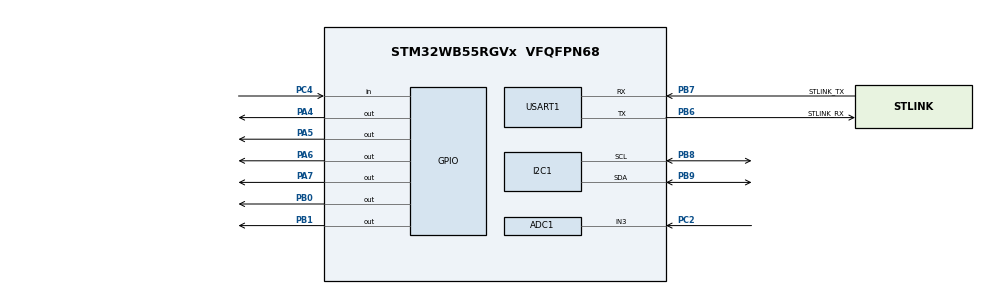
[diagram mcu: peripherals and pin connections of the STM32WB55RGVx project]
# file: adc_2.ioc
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ADC1.Channel-0\#ChannelRegularConversion=ADC_CHANNEL_3
ADC1.ClockPrescaler=ADC_CLOCK_ASYNC_DIV32
ADC1.ContinuousConvMode=ENABLE
ADC1.DMAContinuousRequests=ENABLE
ADC1.NbrOfConversionFlag=1
ADC1.OffsetNumber-0\#ChannelRegularConversion=ADC_OFFSET_NONE
ADC1.Overrun=ADC_OVR_DATA_PRESERVED
ADC1.Rank-0\#ChannelRegularConversion=1
ADC1.SamplingTime-0\#ChannelRegularConversion=ADC_SAMPLETIME_47CYCLES_5
ADC1.master=1
Dma.ADC1.0.Direction=DMA_PERIPH_TO_MEMORY
Dma.ADC1.0.EventEnable=DISABLE
Dma.ADC1.0.Instance=DMA1_Channel1
Dma.ADC1.0.MemDataAlignment=DMA_MDATAALIGN_HALFWORD
Dma.ADC1.0.MemInc=DMA_MINC_ENABLE
Dma.ADC1.0.Mode=DMA_CIRCULAR
Dma.ADC1.0.PeriphDataAlignment=DMA_PDATAALIGN_HALFWORD
Dma.ADC1.0.PeriphInc=DMA_PINC_DISABLE
Dma.ADC1.0.Polarity=HAL_DMAMUX_REQ_GEN_RISING
Dma.ADC1.0.Priority=DMA_PRIORITY_LOW
Dma.ADC1.0.RequestNumber=1
Dma.ADC1.0.SignalID=NONE
Dma.ADC1.0.SyncEnable=DISABLE
Dma.ADC1.0.SyncPolarity=HAL_DMAMUX_SYNC_NO_EVENT
Dma.ADC1.0.SyncRequestNumber=1
Dma.ADC1.0.SyncSignalID=NONE
Dma.Request0=ADC1
I2C1.Timing=0x00100D14
Mcu.Family=STM32WB
Mcu.Name=STM32WB55RGVx
Mcu.Package=VFQFPN68
NVIC.ADC1_IRQn=true\:0\:0\:false\:false\:true\:true\:true\:true
NVIC.DMA1_Channel1_IRQn=true\:0\:0\:false\:false\:true\:false\:true\:true
NVIC.PriorityGroup=NVIC_PRIORITYGROUP_4
OSC_IN.GPIO_Label=RCC_OSC_IN
OSC_IN.Signal=RCC_OSC_IN
OSC_OUT.GPIO_Label=RCC_OSC_OUT
OSC_OUT.Signal=RCC_OSC_OUT
PA11.GPIO_Label=USB_DM
PA11.Signal=USB_DM
PA12.GPIO_Label=USB_DP
PA12.Signal=USB_DP
PA13.GPIO_Label=JTMS
PA13.Signal=SYS_JTMS-SWDIO
PA14.GPIO_Label=JTCK
PA14.Signal=SYS_JTCK-SWCLK
PA4.PinState=GPIO_PIN_SET
PA4.Signal=GPIO_Output
PA5.Signal=GPIO_Output
PA6.Signal=GPIO_Output
PA7.Signal=GPIO_Output
PB0.PinState=GPIO_PIN_SET
PB0.Signal=GPIO_Output
PB1.PinState=GPIO_PIN_SET
PB1.Signal=GPIO_Output
PB3.GPIO_Label=JTDO
PB3.Signal=SYS_JTDO-SWO
PB6.GPIO_Label=STLINK_RX
PB6.Mode=Asynchronous
PB6.Signal=USART1_TX
PB7.GPIO_Label=STLINK_TX
PB7.Mode=Asynchronous
PB7.Signal=USART1_RX
PB8.Mode=I2C
PB8.Signal=I2C1_SCL
PB9.Mode=I2C
PB9.Signal=I2C1_SDA
PC13.GPIO_Label=SYS_WKUP2
PC13.Signal=SYS_WKUP2
PC14-OSC32_IN.GPIO_Label=RCC_OSC32_IN
PC14-OSC32_IN.Signal=RCC_OSC32_IN
PC15-OSC32_OUT.GPIO_Label=RCC_OSC32_OUT
PC15-OSC32_OUT.Signal=RCC_OSC32_OUT
PC2.Signal=ADCx_IN3
PC4.GPIO_PuPd=GPIO_PULLUP
PC4.Signal=GPIO_Input
ProjectManager.HeapSize=0x200
ProjectManager.StackSize=0x400
ProjectManager.TargetToolchain=CMake
RCC.ADCFreq_Value=48000000
RCC.AHB2CLKDivider=RCC_SYSCLK_DIV2
RCC.AHBFreq_Value=4000000
RCC.APB1Freq_Value=4000000
RCC.APB1TimFreq_Value=4000000
RCC.APB2Freq_Value=4000000
RCC.APB2TimFreq_Value=4000000
RCC.APB3Freq_Value=16000000
RCC.Cortex2_Div=SYSTICK_CLKSOURCE_HCLK_DIV8
RCC.CortexFreq_Value=4000000
RCC.HCLKFreq_Value=4000000
RCC.HSE_VALUE=32000000
RCC.HSI48_VALUE=48000000
RCC.HSI_VALUE=16000000
RCC.LSE_VALUE=32768
RCC.PLLSAI1N=24
RCC.SMPSCLockSelection=RCC_SMPSCLKSOURCE_HSI
RCC.SMPSCLockSelectionVirtual=RCC_SMPSCLKSOURCE_HSI
RCC.SMPSCLockSelectionVirtualVirtual=RCC_SMPSCLKSOURCE_HSI
RCC.SMPSDivider=1
RCC.SYSCLKFreq_VALUE=4000000
RCC.USBFreq_Value=48000000
RCC.VCOOutputFreq_Value=32000000
SH.ADCx_IN3.0=ADC1_IN3,IN3-Single-Ended
USART1.VirtualMode-Asynchronous=VM_ASYNC
VP_MEMORYMAP_VS_MEMORYMAP.Mode=CurAppReg
board=NUCLEO-WB55RG

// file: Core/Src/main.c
/* USER CODE BEGIN Header */
/**
  ******************************************************************************
  * @file           : main.c
  * @brief          : Main program body
  ******************************************************************************
  * @attention
  *
  * Copyright (c) 2026 STMicroelectronics.
  * All rights reserved.
  *
  * This software is licensed under terms that can be found in the LICENSE file
  * in the root directory of this software component.
  * If no LICENSE file comes with this software, it is provided AS-IS.
  *
  ******************************************************************************
  */
/* USER CODE END Header */
#include "main.h"
#include "adc.h"
#include "dma.h"
#include "i2c.h"
#include "usart.h"
#include "gpio.h"

/* USER CODE BEGIN Includes */
#include <stdio.h>
#include <string.h>
#include <stdlib.h>
/* USER CODE END Includes */

/* USER CODE BEGIN PTD */

typedef enum
{
    MODE_ECONOMICO = 0,
    MODE_NORMAL,
    MODE_RACE,
    MODE_COUNT
} AppMode_t;

/* USER CODE END PTD */

/* USER CODE BEGIN PD */
#define ADXL345_ADDR        (0x53 << 1)
#define ADXL_REG_DATA_FMT   0x31
#define ADXL_REG_POWER_CTL  0x2D
#define ADXL_REG_DATAX0     0x32
#define ADXL_REG_DEVID      0x00

#define ADC_MAX   4095u
#define VREF_MV   3300u

/* Botão */
#define BTN_PORT            GPIOC
#define BTN_PIN             GPIO_PIN_4
#define BTN_DEBOUNCE_MS     50u     /* tempo mínimo entre leituras válidas  */

/* LEDs */
#define LED1_PORT   GPIOA
#define LED1_PIN    GPIO_PIN_5   /* Acende > 1V */

#define LED2_PORT   GPIOA
#define LED2_PIN    GPIO_PIN_6   /* Acende > 2V */

#define LED3_PORT   GPIOA
#define LED3_PIN    GPIO_PIN_7   /* Acende > 3V */

#define LED1_THRESHOLD_MV   1000u
#define LED2_THRESHOLD_MV   2000u
#define LED3_THRESHOLD_MV   3000u

/* USER CODE END PD */

/* USER CODE BEGIN PV */
uint32_t adc_value = 0;
char msg[64];
char buffer[32];

/* Máquina de estados do modo */
static AppMode_t s_mode           = MODE_NORMAL;
static uint32_t  s_btn_last_tick  = 0;
static uint8_t   s_btn_last_state = GPIO_PIN_SET;   /* pull-up > repouso = 1 */

/* Nomes dos modos*/
static const char * const MODE_NAMES[MODE_COUNT] = {
    "ECONOMICO",
    "NORMAL",
    "RACE"
};
/* USER CODE END PV */

void SystemClock_Config(void);
void PeriphCommonClock_Config(void);
/* USER CODE BEGIN PFP */
static HAL_StatusTypeDef ADXL345_Init(void);
static HAL_StatusTypeDef ADXL345_Read(int16_t *ax, int16_t *ay, int16_t *az);
static void              Button_Update(void);

static void LED_Update(uint32_t mv);
/* USER CODE END PFP */

/* USER CODE BEGIN 0 */
static void LED_Update(uint32_t mv)
{
    HAL_GPIO_WritePin(LED1_PORT, LED1_PIN,
        (mv > LED1_THRESHOLD_MV) ? GPIO_PIN_SET : GPIO_PIN_RESET);

    HAL_GPIO_WritePin(LED2_PORT, LED2_PIN,
        (mv > LED2_THRESHOLD_MV) ? GPIO_PIN_SET : GPIO_PIN_RESET);

    HAL_GPIO_WritePin(LED3_PORT, LED3_PIN,
        (mv > LED3_THRESHOLD_MV) ? GPIO_PIN_SET : GPIO_PIN_RESET);
}

/* ADXL345 */

static HAL_StatusTypeDef ADXL345_Init(void)
{
    uint8_t val;
    HAL_StatusTypeDef ret;

    ret = HAL_I2C_Mem_Read(&hi2c1, ADXL345_ADDR, ADXL_REG_DEVID,
                            I2C_MEMADD_SIZE_8BIT, &val, 1, 100);
    if (ret != HAL_OK) return ret;

    int len = snprintf(buffer, sizeof(buffer),
                       "ADXL345 DEVID: 0x%02X %s\r\n",
                       val, (val == 0xE5) ? "OK" : "ERRO!");
    HAL_UART_Transmit(&huart1, (uint8_t*)buffer, len, 100);

    val = 0x0B;
    ret = HAL_I2C_Mem_Write(&hi2c1, ADXL345_ADDR, ADXL_REG_DATA_FMT,
                             I2C_MEMADD_SIZE_8BIT, &val, 1, 100);
    if (ret != HAL_OK) return ret;

    val = 0x08;
    ret = HAL_I2C_Mem_Write(&hi2c1, ADXL345_ADDR, ADXL_REG_POWER_CTL,
                             I2C_MEMADD_SIZE_8BIT, &val, 1, 100);
    return ret;
}

static HAL_StatusTypeDef ADXL345_Read(int16_t *ax, int16_t *ay, int16_t *az)
{
    uint8_t buf[6];
    HAL_StatusTypeDef ret = HAL_I2C_Mem_Read(&hi2c1, ADXL345_ADDR, ADXL_REG_DATAX0,
                                              I2C_MEMADD_SIZE_8BIT, buf, 6, 100);
    if (ret != HAL_OK) return ret;

    *ax = (int16_t)(buf[1] << 8 | buf[0]);
    *ay = (int16_t)(buf[3] << 8 | buf[2]);
    *az = (int16_t)(buf[5] << 8 | buf[4]);
    return HAL_OK;
}

/*Máquina de estados PC4*/
static void Button_Update(void)
{
    uint8_t current = HAL_GPIO_ReadPin(BTN_PORT, BTN_PIN);

    /* Detecta borda de descida (pull-up solto → botão pressionado) */
    if (current == GPIO_PIN_RESET && s_btn_last_state == GPIO_PIN_SET)
    {
        uint32_t now = HAL_GetTick();

        if ((now - s_btn_last_tick) >= BTN_DEBOUNCE_MS)
        {
            s_btn_last_tick = now;

            s_mode = (AppMode_t)((s_mode + 1) % MODE_COUNT);

            int len = snprintf(buffer, sizeof(buffer),
                               "[MODO] %s\r\n", MODE_NAMES[s_mode]);
            HAL_UART_Transmit(&huart1, (uint8_t*)buffer, len, 100);
        }
    }

    s_btn_last_state = current;
}

/* USER CODE END 0 */

int main(void)
{

  HAL_Init();

  SystemClock_Config();
  PeriphCommonClock_Config();

  MX_GPIO_Init();
  MX_DMA_Init();
  MX_ADC1_Init();
  MX_USART1_UART_Init();
  MX_I2C1_Init();

  /* USER CODE BEGIN 2 */
  HAL_ADCEx_Calibration_Start(&hadc1, ADC_SINGLE_ENDED);

  if (ADXL345_Init() != HAL_OK) {
    HAL_UART_Transmit(&huart1, (uint8_t*)"ADXL345 falhou na inicializacao!\r\n", 34, 100);
  }

  /* Anuncia modo inicial */
  {
      int len = snprintf(buffer, sizeof(buffer),
                         "[MODO] %s\r\n", MODE_NAMES[s_mode]);
      HAL_UART_Transmit(&huart1, (uint8_t*)buffer, len, 100);
  }
  /* USER CODE END 2 */

  /* Infinite loop */
  /* USER CODE BEGIN WHILE */
  int16_t ax = 0, ay = 0, az = 0;
  uint8_t accel_ok;

  while (1)
  {
    /* USER CODE END WHILE */
    /* USER CODE BEGIN 3 */

    /*Verifica botão PC4 e atualiza modo*/
    Button_Update();

    /* --- ADC --- */
    HAL_ADC_Start(&hadc1);
    HAL_ADC_PollForConversion(&hadc1, 10);
    adc_value = HAL_ADC_GetValue(&hadc1);
    HAL_ADC_Stop(&hadc1);

    uint32_t mvN    = (adc_value * VREF_MV + ADC_MAX / 2) / ADC_MAX;
    uint32_t v_intN = mvN / 1000u;
    uint32_t v_decN = mvN % 1000u;

    uint32_t mvN    = (adc_value * VREF_MV + ADC_MAX / 2) / ADC_MAX;
    uint32_t v_intN = mvN / 1000u;
    uint32_t v_decN = mvN % 1000u;

LED_Update(mvN);

    /*ADXL345*/
    accel_ok = (ADXL345_Read(&ax, &ay, &az) == HAL_OK);
//OI
    /*Serial */
    if (accel_ok) {
    if (s_mode == MODE_RACE) {
        uint32_t mv    = ((adc_value * VREF_MV + ADC_MAX / 2) / ADC_MAX*1.5);
        uint32_t v_int = mv / 1000u;
        uint32_t v_dec = mv % 1000u;
        int len = snprintf(msg, sizeof(msg),
                           "[RACE] X=%d Y=%d Z=%d ADC=%lu V=%lu.%03lu V=%lu.%03lu\r\n",
                           ax, ay, az, adc_value, v_intN, v_decN, v_int, v_dec);
        HAL_UART_Transmit(&huart1, (uint8_t*)msg, len, 20);
    }
    else if (s_mode == MODE_ECONOMICO) {
        uint32_t mv    = ((adc_value * VREF_MV + ADC_MAX / 2) / ADC_MAX*0.5);
        uint32_t v_int = mv / 1000u;
        uint32_t v_dec = mv % 1000u;
        int len = snprintf(msg, sizeof(msg),
                           "[ECONOMICO] V=%lu.%03lu V\r\n",
                           v_int, v_dec);
        HAL_UART_Transmit(&huart1, (uint8_t*)msg, len, 20);
    }
    else {
        int len = snprintf(msg, sizeof(msg),
                           "[NORMAL] X=%d Y=%d Z=%d ADC=%lu\r\n",
                           ax, ay, az, adc_value);
        HAL_UART_Transmit(&huart1, (uint8_t*)msg, len, 20);
    }
} else {
    HAL_UART_Transmit(&huart1, (uint8_t*)"Erro ADXL345\r\n", 14, 20);
}
    HAL_Delay(100);
  }

  /* USER CODE END 3 */
}

void SystemClock_Config(void)
{
  RCC_OscInitTypeDef RCC_OscInitStruct = {0};
  RCC_ClkInitTypeDef RCC_ClkInitStruct = {0};

  __HAL_RCC_PLL_PLLM_CONFIG(RCC_PLLM_DIV1);
  __HAL_RCC_PLL_PLLSOURCE_CONFIG(RCC_PLLSOURCE_MSI);
  __HAL_PWR_VOLTAGESCALING_CONFIG(PWR_REGULATOR_VOLTAGE_SCALE1);

  RCC_OscInitStruct.OscillatorType      = RCC_OSCILLATORTYPE_HSI | RCC_OSCILLATORTYPE_MSI;
  RCC_OscInitStruct.HSIState            = RCC_HSI_ON;
  RCC_OscInitStruct.MSIState            = RCC_MSI_ON;
  RCC_OscInitStruct.HSICalibrationValue = RCC_HSICALIBRATION_DEFAULT;
  RCC_OscInitStruct.MSICalibrationValue = RCC_MSICALIBRATION_DEFAULT;
  RCC_OscInitStruct.MSIClockRange       = RCC_MSIRANGE_6;
  RCC_OscInitStruct.PLL.PLLState        = RCC_PLL_NONE;
  if (HAL_RCC_OscConfig(&RCC_OscInitStruct) != HAL_OK)
    Error_Handler();

  RCC_ClkInitStruct.ClockType      = RCC_CLOCKTYPE_HCLK4 | RCC_CLOCKTYPE_HCLK2
                                   | RCC_CLOCKTYPE_HCLK  | RCC_CLOCKTYPE_SYSCLK
                                   | RCC_CLOCKTYPE_PCLK1 | RCC_CLOCKTYPE_PCLK2;
  RCC_ClkInitStruct.SYSCLKSource   = RCC_SYSCLKSOURCE_MSI;
  RCC_ClkInitStruct.AHBCLKDivider  = RCC_SYSCLK_DIV1;
  RCC_ClkInitStruct.APB1CLKDivider = RCC_HCLK_DIV1;
  RCC_ClkInitStruct.APB2CLKDivider = RCC_HCLK_DIV1;
  RCC_ClkInitStruct.AHBCLK2Divider = RCC_SYSCLK_DIV2;
  RCC_ClkInitStruct.AHBCLK4Divider = RCC_SYSCLK_DIV1;

  if (HAL_RCC_ClockConfig(&RCC_ClkInitStruct, FLASH_LATENCY_0) != HAL_OK)
    Error_Handler();
}

void PeriphCommonClock_Config(void)
{
  RCC_PeriphCLKInitTypeDef PeriphClkInitStruct = {0};

  PeriphClkInitStruct.PeriphClockSelection = RCC_PERIPHCLK_SMPS;
  PeriphClkInitStruct.SmpsClockSelection   = RCC_SMPSCLKSOURCE_HSI;
  PeriphClkInitStruct.SmpsDivSelection     = RCC_SMPSCLKDIV_RANGE0;

  if (HAL_RCCEx_PeriphCLKConfig(&PeriphClkInitStruct) != HAL_OK)
    Error_Handler();
}

void Error_Handler(void)
{
  __disable_irq();
  while (1) {}
}
